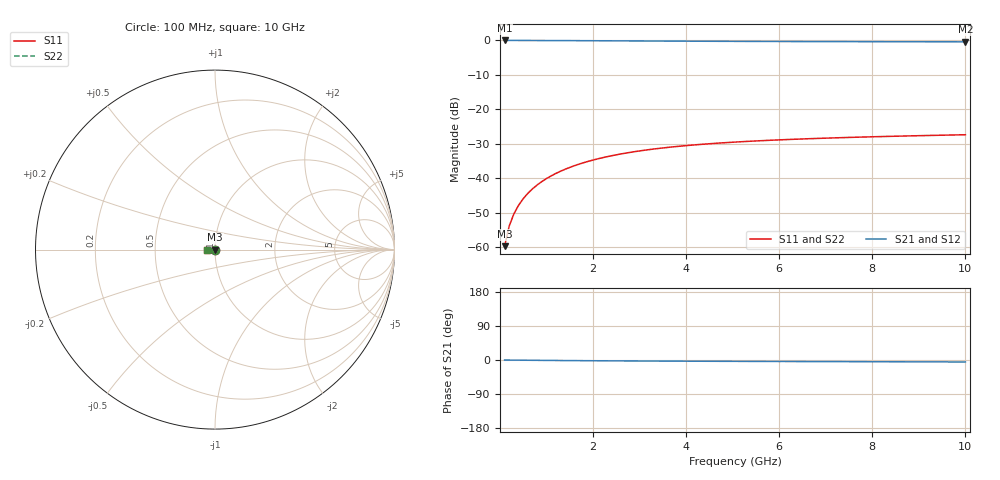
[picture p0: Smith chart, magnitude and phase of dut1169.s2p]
! Touchstone file exported from HFSS 2024.1.0
!  File:  C:/UserFiles/LocalFiles/RDL_TSV_Batchsim/temp_TSV1_1169_1780073598.aedt
!  Generated:  12:58:25 AM May 30, 2026
!  Design:  TSV1
!  Project:  temp_TSV1_1169_1780073598
!  Setup:  Setup1
!  Solution:  Sweep
! Variables:
!  dtsv = 7.83um
!  hbump = 3um
!  htsv = 82.34um
!  lrdl = 252.1521522um
!  p = 40
!  p1 = 40.38um
!  t = 500um
!  trdl = 3um
!  wrdl = 24.89489489um
# GHz S MA R 50.000000
! Terminal data exported
! Port[1] = TSV22_T1
! Port[2] = TSV22_T2
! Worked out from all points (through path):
!   100 points, 100 MHz to 10 GHz, reference 50 ohm
!   highest |S21| = 0.00 dB at 100 MHz (marker M1); lowest = -0.4 dB at 10 GHz (marker M2)
!   lowest |S11| = -59.8 dB at 100 MHz (marker M3), VSWR 1.00, Z = 50 - j0.101 ohm
!   |S11| at or under -10 dB: start of sweep to end of sweep
!   |S22| runs from -59.8 to -27.4 dB; largest |S21 - S12| = 1.1e-14
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0.1  0.001028 -77.9  0.9997 -0.1  0.9997 -0.1  0.001028 -77.9
! Gamma 0 0 0 0
! Port Impedance 50 0 50 0
0.2  0.002028 -86.0  0.9996 -0.2  0.9996 -0.2  0.002028 -86.0
0.3  0.003035 -89.9  0.9995 -0.3  0.9995 -0.3  0.003035 -89.9
0.4  0.004038 -92.7  0.9993 -0.4  0.9993 -0.4  0.004038 -92.7
0.5  0.005034 -94.9  0.999 -0.5  0.999 -0.5  0.005034 -94.9
0.6  0.006022 -97.0  0.9987 -0.7  0.9987 -0.7  0.006022 -97.0
0.7  0.007001 -98.9  0.9983 -0.8  0.9983 -0.8  0.007001 -98.9
0.8  0.007968 -100.7  0.9979 -0.9  0.9979 -0.9  0.007968 -100.7
0.9  0.008923 -102.4  0.9975 -1.0  0.9975 -1.0  0.008923 -102.4
1.1  0.01079 -105.7  0.9965 -1.2  0.9965 -1.2  0.01079 -105.7
1.4  0.01347 -110.4  0.9947 -1.4  0.9947 -1.4  0.01347 -110.4
1.6  0.01516 -113.4  0.9934 -1.6  0.9934 -1.6  0.01516 -113.4
1.8  0.01678 -116.2  0.992 -1.8  0.992 -1.8  0.01678 -116.2
2.1  0.01907 -120.3  0.9897 -2.0  0.9897 -2.0  0.01907 -120.3
2.5  0.02183 -125.4  0.9867 -2.3  0.9867 -2.3  0.02183 -125.4
2.9  0.02429 -130.2  0.9837 -2.6  0.9837 -2.6  0.02429 -130.2
3.4  0.02697 -135.6  0.9801 -2.8  0.9801 -2.8  0.02697 -135.6
4.2  0.03048 -143.3  0.9748 -3.2  0.9748 -3.2  0.03048 -143.3
5.1  0.03356 -150.7  0.9699 -3.6  0.9699 -3.6  0.03356 -150.7
6.7  0.03752 -161.5  0.9632 -4.1  0.9632 -4.1  0.03752 -161.5
8.4  0.0405 -170.7  0.9584 -4.7  0.9584 -4.7  0.0405 -170.7
10  0.0427 -177.9  0.9551 -5.2  0.9551 -5.2  0.0427 -177.9
